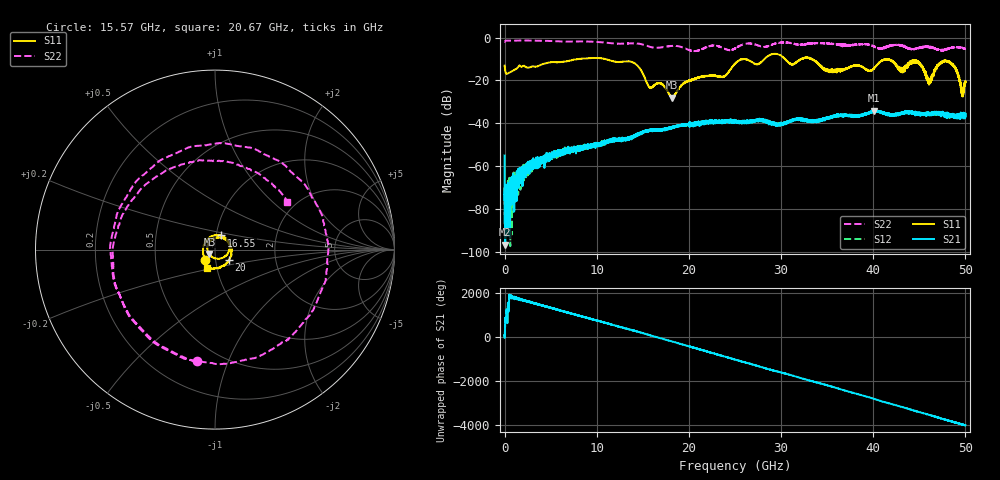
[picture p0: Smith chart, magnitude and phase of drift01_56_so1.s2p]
!Created with skrf (http://scikit-rf.org).
# Hz S RI R 50.0
!freq ReS11 ImS11 ReS21 ImS21 ReS12 ImS12 ReS22 ImS22
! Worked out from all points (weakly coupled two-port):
!   10001 points, 300 kHz to 50 GHz, reference 50 ohm
!   highest |S21| = -34.02 dB at 40.05 GHz (marker M1); lowest = -96.6 dB at 70.3 MHz (marker M2)
!   lowest |S11| = -28.0 dB at 18.12 GHz (marker M3), VSWR 1.08, Z = 46.9 - j2.31 ohm
!   |S11| at or under -10 dB: start of sweep to 8.035 GHz; 10.89 GHz to 25.87 GHz (14.98 GHz wide, 81.5 % of centre); 33.36 GHz to end of sweep (the widest 3 of 15)
!   |S22| runs from -6.4 to -1.4 dB; largest |S21 - S12| = 0.0046
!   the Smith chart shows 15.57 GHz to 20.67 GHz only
!   S11 on the Smith chart (normalised r, x): 15.57 GHz: 0.89, -0.10; 16.55 GHz: 1.06, +0.17; 20 GHz: 1.16, -0.14; 20.67 GHz: 0.89, -0.18
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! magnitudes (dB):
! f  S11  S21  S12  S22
! 300 kHz  -13.1  -55.0  -65.4  -2.1
! 70.3 MHz  -15.5  -96.6  -76.0  -1.5
! 270.3 MHz  -16.9  -73.6  -75.7  -1.4
! 2.98 GHz  -13.5  -59.5  -62.2  -1.4
! 8.335 GHz  -9.9  -50.9  -51.5  -1.8
! 13.86 GHz  -11.5  -46.3  -46.3  -2.7
! 15.57 GHz  -22.2  -43.4  -43.5  -4.0
! 16.55 GHz  -21.3  -43.0  -43.1  -4.7
! 16.67 GHz  -21.2  -43.2  -43.0  -4.8
! 18.12 GHz  -28.0  -42.2  -42.1  -3.9
! 20 GHz  -20.1  -40.4  -40.8  -5.8
! 20.67 GHz  -19.1  -40.8  -41.0  -6.4
! 25 GHz  -12.2  -39.5  -39.2  -5.1
! 33.34 GHz  -10.1  -38.9  -39.1  -2.8
! 35.12 GHz  -15.4  -37.8  -37.5  -2.8
! 40.05 GHz  -14.6  -34.0  -34.5  -4.2
! 41.67 GHz  -10.1  -35.7  -36.0  -4.1
! 43.08 GHz  -15.5  -35.3  -35.3  -3.8
! 44.82 GHz  -11.4  -35.8  -35.6  -5.0
! 46.11 GHz  -20.3  -35.7  -35.2  -4.6
! 48.06 GHz  -11.2  -35.8  -36.4  -5.2
! 50 GHz  -21.0  -37.0  -35.7  -5.2
